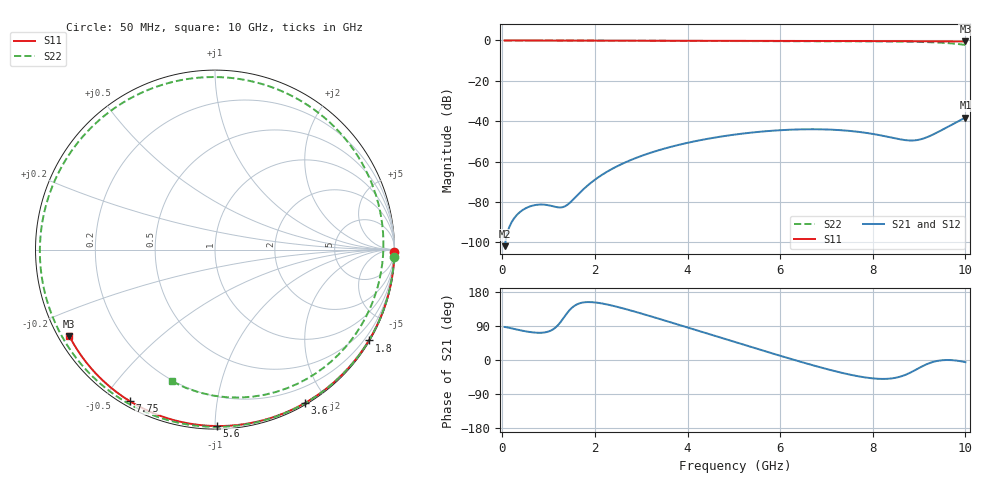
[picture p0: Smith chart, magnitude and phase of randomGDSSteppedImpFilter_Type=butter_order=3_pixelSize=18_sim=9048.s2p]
! freq	dB(S11)	phase(S11)	dB(S12)	phase(S12)
!  dB(S21)	phase(S21)	dB(S22)	phase(S22)
!S-par simulation data
#  GHz  S  DB  R 50
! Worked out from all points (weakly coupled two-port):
!   200 points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, 50 MHz to 10 GHz, reference 50 ohm
!   highest |S21| = -38.20 dB at 10 GHz (marker M1); lowest = -101.9 dB at 50 MHz (marker M2)
!   lowest |S11| = -0.5 dB at 10 GHz (marker M3), VSWR 34.46, Z = 1.56 - j13.7 ohm
!   |S11| at or under -10 dB: nowhere
!   |S22| runs from -2.2 to 0.0 dB; largest |S21 - S12| = 0
!   S11 on the Smith chart (normalised r, x): 50 MHz: open; 1.8 GHz: 0.03, -3.66; 3.6 GHz: 0.02, -1.75; 5.6 GHz: 0.02, -1.01; 7.75 GHz: 0.02, -0.59; 10 GHz: 0.03, -0.27
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0.05  -0.00 -0.9  -101.94 87.1  -101.94 87.1  -0.00 -2.4
0.7  -0.01 -12.0  -81.61 72.3  -81.61 72.3  -0.04 -32.4
1.45  -0.03 -24.7  -80.62 131.3  -80.62 131.3  -0.08 -65.8
1.75  -0.04 -29.7  -73.78 151.9  -73.78 151.9  -0.10 -78.5
1.8  -0.04 -30.6  -72.73 152.6  -72.73 152.6  -0.10 -80.6
2.15  -0.05 -36.3  -66.64 149.3  -66.64 149.3  -0.11 -95.0
2.55  -0.06 -42.9  -61.55 138.1  -61.55 138.1  -0.13 -111.0
3.4  -0.08 -56.5  -54.25 108.2  -54.25 108.2  -0.17 -143.4
3.6  -0.08 -59.6  -52.96 100.8  -52.96 100.8  -0.17 -150.8
4.35  -0.10 -71.1  -49.09 72.7  -49.09 72.7  -0.21 -178.6
5.05  -0.13 -81.5  -46.55 46.4  -46.55 46.4  -0.25 155.2
5.6  -0.15 -89.5  -45.16 25.9  -45.16 25.9  -0.28 133.9
6.2  -0.18 -98.0  -44.24 3.9  -44.24 3.9  -0.32 109.7
6.7  -0.20 -105.0  -44.00 -13.7  -44.00 -13.7  -0.34 88.4
7.2  -0.24 -111.8  -44.32 -29.9  -44.32 -29.9  -0.37 66.3
7.75  -0.28 -119.3  -45.46 -44.3  -45.46 -44.3  -0.42 40.7
8.35  -0.33 -127.3  -47.87 -49.4  -47.87 -49.4  -0.51 11.1
8.85  -0.38 -134.0  -49.58 -30.9  -49.58 -30.9  -0.65 -15.8
9.2  -0.41 -138.6  -47.68 -9.3  -47.68 -9.3  -0.85 -37.2
9.65  -0.46 -144.7  -42.45 0.0  -42.45 0.0  -1.36 -71.0
9.85  -0.49 -147.3  -40.00 -2.2  -40.00 -2.2  -1.79 -90.6
10  -0.50 -149.4  -38.20 -5.8  -38.20 -5.8  -2.24 -108.2
